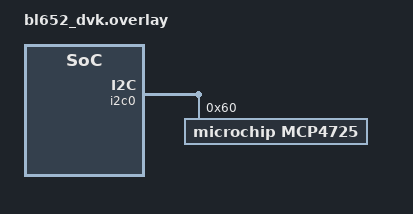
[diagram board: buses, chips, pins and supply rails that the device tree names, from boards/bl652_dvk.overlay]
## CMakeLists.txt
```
# SPDX-License-Identifier: Apache-2.0

cmake_minimum_required(VERSION 3.13.1)

find_package(Zephyr REQUIRED HINTS $ENV{ZEPHYR_BASE})
project(DAC)

target_sources(app PRIVATE src/main.c)
```

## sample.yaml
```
sample:
  name: DAC driver sample
tests:
  sample.drivers.dac:
    tags: DAC
    platform_allow: |
      arduino_zero frdm_k22f frdm_k64f nucleo_f091rc nucleo_g071rb nucleo_g431rb
      nucleo_l073rz nucleo_l152re twr_ke18f nucleo_f767zi nucleo_f429zi bl652_dvk
      bl653_dvk bl654_dvk
    depends_on: dac
    harness: console
    harness_config:
      type: one_line
      regex:
        - "Generating sawtooth signal at DAC channel ([0-9]*)."
```

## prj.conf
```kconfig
CONFIG_DAC=y
```

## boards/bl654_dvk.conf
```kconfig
#
# Copyright (c) 2021 Laird Connectivity
#
# SPDX-License-Identifier: Apache-2.0
#
CONFIG_DAC_MCP4725=y
```

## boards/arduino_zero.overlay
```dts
/ {
	zephyr,user {
		dac = <&dac0>;
		dac-channel-id = <0>;
		dac-resolution = <10>;
	};
};
```

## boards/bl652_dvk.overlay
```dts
/*
 * Copyright 2021 Laird Connectivity
 *
 * SPDX-License-Identifier: Apache-2.0
 */

&i2c0 {
	dac0: mcp4725@60 {
		compatible = "microchip,mcp4725";
		reg = <0x60>;
		label = "MCP4725";
		#io-channel-cells = <1>;
	};
};
```

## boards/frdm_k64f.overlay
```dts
/ {
	zephyr,user {
		dac = <&dac0>;
		dac-channel-id = <0>;
		dac-resolution = <12>;
	};
};
```

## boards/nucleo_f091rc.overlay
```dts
/ {
	zephyr,user {
		dac = <&dac1>;
		dac-channel-id = <1>;
		dac-resolution = <12>;
	};
};
```

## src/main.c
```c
/*
 * Copyright (c) 2020 Libre Solar Technologies GmbH
 *
 * SPDX-License-Identifier: Apache-2.0
 */

#include <zephyr.h>
#include <sys/printk.h>
#include <drivers/dac.h>

#define ZEPHYR_USER_NODE DT_PATH(zephyr_user)

#if (DT_NODE_HAS_PROP(ZEPHYR_USER_NODE, dac) && \
	DT_NODE_HAS_PROP(ZEPHYR_USER_NODE, dac_channel_id) && \
	DT_NODE_HAS_PROP(ZEPHYR_USER_NODE, dac_resolution))
#define DAC_NODE DT_PHANDLE(ZEPHYR_USER_NODE, dac)
#define DAC_CHANNEL_ID DT_PROP(ZEPHYR_USER_NODE, dac_channel_id)
#define DAC_RESOLUTION DT_PROP(ZEPHYR_USER_NODE, dac_resolution)
#else
#error "Unsupported board: see README and check /zephyr,user node"
#define DAC_NODE DT_INVALID_NODE
#define DAC_CHANNEL_ID 0
#define DAC_RESOLUTION 0
#endif

static const struct device *dac_dev = DEVICE_DT_GET(DAC_NODE);

static const struct dac_channel_cfg dac_ch_cfg = {
	.channel_id  = DAC_CHANNEL_ID,
	.resolution  = DAC_RESOLUTION
};

void main(void)
{
	if (!device_is_ready(dac_dev)) {
		printk("DAC device %s is not ready\n", dac_dev->name);
		return;
	}

	int ret = dac_channel_setup(dac_dev, &dac_ch_cfg);

	if (ret != 0) {
		printk("Setting up of DAC channel failed with code %d\n", ret);
		return;
	}

	printk("Generating sawtooth signal at DAC channel %d.\n",
		DAC_CHANNEL_ID);
	while (1) {
		/* Number of valid DAC values, e.g. 4096 for 12-bit DAC */
		const int dac_values = 1U << DAC_RESOLUTION;

		/*
		 * 1 msec sleep leads to about 4 sec signal period for 12-bit
		 * DACs. For DACs with lower resolution, sleep time needs to
		 * be increased.
		 * Make sure to sleep at least 1 msec even for future 16-bit
		 * DACs (lowering signal frequency).
		 */
		const int sleep_time = 4096 / dac_values > 0 ?
			4096 / dac_values : 1;

		for (int i = 0; i < dac_values; i++) {
			ret = dac_write_value(dac_dev, DAC_CHANNEL_ID, i);
			if (ret != 0) {
				printk("dac_write_value() failed with code %d\n", ret);
				return;
			}
			k_sleep(K_MSEC(sleep_time));
		}
	}
}
```
